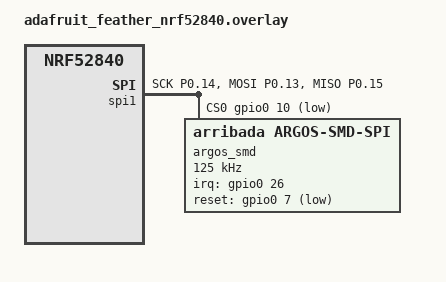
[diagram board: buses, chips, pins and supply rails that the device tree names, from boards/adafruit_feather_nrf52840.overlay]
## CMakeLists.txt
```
# Copyright (c) 2025 Arribada Initiative
# SPDX-License-Identifier: Apache-2.0

cmake_minimum_required(VERSION 3.20.0)

find_package(Zephyr REQUIRED HINTS $ENV{ZEPHYR_BASE})
project(argos_smd_spi_dfu_test)

# Add external firmware file if provided
if(DEFINED FIRMWARE_FILE)
    if(EXISTS ${FIRMWARE_FILE})
        message(STATUS "Using external firmware: ${FIRMWARE_FILE}")

        # Read the binary file and generate a C array
        file(READ ${FIRMWARE_FILE} FIRMWARE_HEX HEX)
        string(LENGTH ${FIRMWARE_HEX} FIRMWARE_HEX_LEN)
        math(EXPR FIRMWARE_SIZE "${FIRMWARE_HEX_LEN} / 2")

        # Generate header file with firmware data
        set(FIRMWARE_HEADER "${CMAKE_BINARY_DIR}/generated/firmware_image.h")
        file(WRITE ${FIRMWARE_HEADER} "/* Auto-generated firmware image */\n")
        file(APPEND ${FIRMWARE_HEADER} "#ifndef FIRMWARE_IMAGE_H\n#define FIRMWARE_IMAGE_H\n\n")
        file(APPEND ${FIRMWARE_HEADER} "#include <stdint.h>\n\n")
        file(APPEND ${FIRMWARE_HEADER} "#define FIRMWARE_IMAGE_SIZE ${FIRMWARE_SIZE}\n\n")
        file(APPEND ${FIRMWARE_HEADER} "static const uint8_t firmware_image[${FIRMWARE_SIZE}] = {\n    ")

        string(REGEX REPLACE "([0-9a-fA-F][0-9a-fA-F])" "0x\\1, " FIRMWARE_C_ARRAY ${FIRMWARE_HEX})
        string(REGEX REPLACE ", $" "" FIRMWARE_C_ARRAY ${FIRMWARE_C_ARRAY})

        # Add line breaks every 16 bytes
        string(REGEX REPLACE "((0x[0-9a-fA-F][0-9a-fA-F], ){16})" "\\1\n    " FIRMWARE_C_ARRAY ${FIRMWARE_C_ARRAY})

        file(APPEND ${FIRMWARE_HEADER} "${FIRMWARE_C_ARRAY}\n};\n\n")
        file(APPEND ${FIRMWARE_HEADER} "#endif /* FIRMWARE_IMAGE_H */\n")

        target_include_directories(app PRIVATE ${CMAKE_BINARY_DIR}/generated)
        target_compile_definitions(app PRIVATE USE_EXTERNAL_FIRMWARE=1)
    else()
        message(FATAL_ERROR "Firmware file not found: ${FIRMWARE_FILE}")
    endif()
endif()

target_sources(app PRIVATE src/main.c)
```

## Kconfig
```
# Copyright (c) 2025 Arribada Initiative
# SPDX-License-Identifier: Apache-2.0

mainmenu "Argos SMD SPI DFU Test Configuration"

source "Kconfig.zephyr"

config ARGOS_SMD_DFU_TEST_FULL_UPDATE
    bool "Enable full DFU update test"
    default n
    help
      When enabled, the test will perform a complete firmware update
      using the provided firmware image. This is a destructive operation
      that will erase and reprogram the Argos SMD module's flash.

      WARNING: Only enable this if you have a valid firmware image
      and want to actually update the module.
```

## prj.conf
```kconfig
# Copyright (c) 2025 Arribada Initiative
# SPDX-License-Identifier: Apache-2.0

# Logging
CONFIG_LOG=y
CONFIG_LOG_DEFAULT_LEVEL=3
CONFIG_LOG_MODE_IMMEDIATE=y

# RTT buffer size (increase for more log buffering)
CONFIG_SEGGER_RTT_BUFFER_SIZE_UP=4096
CONFIG_SEGGER_RTT_BUFFER_SIZE_DOWN=16

# RTT Console for logs (via J-Link)
CONFIG_USE_SEGGER_RTT=y
CONFIG_RTT_CONSOLE=y
CONFIG_UART_CONSOLE=n
CONFIG_CONSOLE=y

# RTT log backend must DROP (not block) when full: with immediate logging and no
# RTT host draining yet, the blocking mode busy-waits and a context switch during
# that wait can fault. Drop instead.
CONFIG_LOG_BACKEND_RTT_MODE_DROP=y

# SPI support
CONFIG_SPI=y

# Argos SMD SPI driver
CONFIG_ARGOS_SMD=y
CONFIG_ARGOS_SMD_SPI=y
# INF (not DBG): DBG logs every TX/RX of every 64-byte transaction, which floods
# RTT during the ~300-chunk firmware write and can stall the OTA. Bump to DBG only
# when debugging a single command.
CONFIG_ARGOS_SMD_LOG_LEVEL_INF=y

# Argos SMD DFU via SPI
CONFIG_ARGOS_SMD_DFU=y
CONFIG_ARGOS_SMD_DFU_LOG_LEVEL_INF=y

# Main stack size (increase for large firmware images)
CONFIG_MAIN_STACK_SIZE=8192

# System workqueue stack size
CONFIG_SYSTEM_WORKQUEUE_STACK_SIZE=2048

# GPIO for CS/IRQ/Reset pins
CONFIG_GPIO=y

# Optional: Enable full DFU test (WARNING: performs real firmware update)
CONFIG_ARGOS_SMD_DFU_TEST_FULL_UPDATE=y
```

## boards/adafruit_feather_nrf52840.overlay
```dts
/*
 * Copyright (c) 2025 Arribada Initiative
 * SPDX-License-Identifier: Apache-2.0
 *
 * Devicetree overlay for Argos SMD SPI DFU test on Adafruit Feather nRF52840
 *
 * SPI Wiring (Feather -> Argos SMD module):
 * - SCK  (P0.14) -> SPI_CLK  (STM32 PA1)
 * - MOSI (P0.13) -> SPI_MOSI (STM32 PB5)
 * - MISO (P0.15) -> SPI_MISO (STM32 PB4)
 * - CS   (P0.10) -> SPI_NSS  (STM32 PA15)
 * - IRQ  (P0.26) -> IRQ/READY (optional)
 * - RST  (P0.07) -> RESET (optional)
 *
 * NOTE: P0.10 is NFC2 by default, must disable NFC to use as GPIO
 */

/* Disable NFC to use P0.09/P0.10 as GPIO */
&uicr {
	nfct-pins-as-gpios;
};

&pinctrl {
	spi1_default: spi1_default {
		group1 {
			psels = <NRF_PSEL(SPIM_SCK, 0, 14)>,
				<NRF_PSEL(SPIM_MOSI, 0, 13)>,
				<NRF_PSEL(SPIM_MISO, 0, 15)>;
		};
	};

	spi1_sleep: spi1_sleep {
		group1 {
			psels = <NRF_PSEL(SPIM_SCK, 0, 14)>,
				<NRF_PSEL(SPIM_MOSI, 0, 13)>,
				<NRF_PSEL(SPIM_MISO, 0, 15)>;
			low-power-enable;
		};
	};
};

&spi1 {
	compatible = "nordic,nrf-spim";
	status = "okay";
	pinctrl-0 = <&spi1_default>;
	pinctrl-1 = <&spi1_sleep>;
	pinctrl-names = "default", "sleep";
	cs-gpios = <&gpio0 10 GPIO_ACTIVE_LOW>;

	argos_smd: argos-smd@0 {
		compatible = "arribada,argos-smd-spi";
		reg = <0>;
		spi-max-frequency = <125000>;  /* 125 kHz - minimum supported by the nRF52840 SPIM (100 kHz => -EINVAL) */
		irq-gpios = <&gpio0 26 GPIO_ACTIVE_HIGH>;
		reset-gpios = <&gpio0 7 GPIO_ACTIVE_LOW>;
	};
};

/* Alternative pin mapping for Feather headers:
 *
 * Feather Pin | nRF Pin | Function
 * ------------|---------|----------
 * SCK         | P0.13   | SPI Clock
 * MOSI        | P0.14   | SPI Master Out
 * MISO        | P0.15   | SPI Master In
 * D10         | P0.27   | Chip Select
 * D9          | P0.26   | IRQ/Ready
 * D6          | P0.07   | Reset
 *
 * Analog pins (if needed for other purposes):
 * - A0: P0.04
 * - A1: P0.05
 * - A2: P0.30
 * - A3: P0.28
 * - A4: P0.02
 * - A5: P0.03
 */
```

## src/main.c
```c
/*
 * Copyright (c) 2025 Arribada Initiative
 * SPDX-License-Identifier: Apache-2.0
 *
 * Argos SMD SPI DFU Test - Full DFU functionality test
 */

#include <zephyr/kernel.h>
#include <zephyr/device.h>
#include <zephyr/logging/log.h>
#include <errno.h>

#include <argos-smd/argos_smd_spi.h>
#include <argos-smd/argos_smd_dfu_spi.h>

LOG_MODULE_REGISTER(spi_dfu_test, LOG_LEVEL_DBG);

#define ARGOS_SMD_SPI_NODE DT_NODELABEL(argos_smd)
#if !DT_NODE_EXISTS(ARGOS_SMD_SPI_NODE)
#error "Argos SMD SPI device not found in devicetree"
#endif

static const struct device *dev = DEVICE_DT_GET(ARGOS_SMD_SPI_NODE);

/* External firmware image (if provided via CMake) */
#ifdef USE_EXTERNAL_FIRMWARE
#include "firmware_image.h"
#define TEST_FW_IMAGE    firmware_image
#define TEST_FW_SIZE     FIRMWARE_IMAGE_SIZE
#else
/* Minimal test firmware - valid STM32 vector table stub */
static const uint8_t test_firmware[] = {
	0x00, 0x20, 0x00, 0x08,  /* Initial SP */
	0x41, 0x81, 0x00, 0x08,  /* Reset vector */
};
#define TEST_FW_IMAGE    test_firmware
#define TEST_FW_SIZE     sizeof(test_firmware)
#endif

static void dfu_progress_callback(uint32_t current, uint32_t total, void *user_data)
{
	uint32_t percent = (current * 100) / total;
	if (percent % 10 == 0) {
		LOG_INF("Progress: %u%%", percent);
	}
}

static int test_dfu_erase(void)
{
	LOG_INF("--- DFU ERASE ---");
	int ret = argos_dfu_erase(dev);
	LOG_INF("Erase result: %d", ret);
	return ret;
}

static int test_dfu_write_chunk(void)
{
	uint8_t test_data[64];
	for (int i = 0; i < sizeof(test_data); i++) {
		test_data[i] = (uint8_t)i;
	}
	int ret = argos_dfu_write_chunk(dev, ARGOS_FLASH_APPLICATION, test_data, sizeof(test_data));
	LOG_INF("Write chunk result: %d", ret);
	return ret;
}

static int test_full_firmware_update(void)
{
	int ret = argos_spi_firmware_update(dev, TEST_FW_IMAGE, TEST_FW_SIZE,
					    dfu_progress_callback, NULL);
	LOG_INF("Firmware update result: %d", ret);
	return ret;
}

int main(void)
{
	int ret;

	LOG_INF("========================================");
	LOG_INF("  SPI DFU Full Test");
	LOG_INF("========================================");
	LOG_INF("");

	if (!device_is_ready(dev)) {
		LOG_ERR("Device not ready!");
		return -1;
	}
	LOG_INF("Device ready");

	/* ===== STEP 1: SYNC ===== */
	LOG_INF("");
	LOG_INF("=== STEP 1: SYNC ===");
	ret = argos_spi_sync(dev);
	LOG_INF("Sync returned: %d", ret);
	k_msleep(100);

	/* ===== STEP 2: PING APP ===== */
	LOG_INF("");
	LOG_INF("=== STEP 2: PING APP (cmd 0x02) ===");
	ret = argos_spi_ping(dev);
	if (ret == 0) {
		LOG_INF(">> APP PING OK!");
	} else {
		LOG_ERR(">> APP PING FAILED: %d", ret);
		/* Check if already in bootloader */
		LOG_INF("Checking if in bootloader...");
		ret = argos_dfu_ping(dev);
		if (ret == 0) {
			LOG_INF(">> Already in BOOTLOADER mode!");
			goto bootloader_ready;
		}
		LOG_ERR("No response from app or bootloader");
		return -1;
	}
	k_msleep(200);

	/* ===== STEP 3: DFU_ENTER (0x3F) ===== */
	LOG_INF("");
	LOG_INF("=== STEP 3: DFU_ENTER (cmd 0x3F) ===");
	LOG_INF("Calling argos_dfu_enter()...");
	ret = argos_dfu_enter(dev);
	LOG_INF("argos_dfu_enter() returned: %d", ret);

	/* ===== STEP 4: WAIT FOR RESET ===== */
	LOG_INF("");
	LOG_INF("=== STEP 4: WAIT 2s FOR STM32 RESET ===");
	k_msleep(2000);

	/* ===== STEP 5: SYNC WITH BOOTLOADER ===== */
	LOG_INF("");
	LOG_INF("=== STEP 5: SYNC WITH BOOTLOADER ===");
	ret = argos_spi_sync(dev);
	LOG_INF("Sync returned: %d", ret);
	k_msleep(200);

	/* ===== STEP 6: PING BOOTLOADER ===== */
	LOG_INF("");
	LOG_INF("=== STEP 6: PING BOOTLOADER (DFU cmd 0x30) ===");
	ret = argos_dfu_ping(dev);
	if (ret == 0) {
		LOG_INF(">> BOOTLOADER PING OK!");
	} else {
		LOG_ERR(">> BOOTLOADER PING FAILED: %d", ret);
		goto done;
	}

bootloader_ready:
	/* ===== STEP 7: GET BOOTLOADER INFO ===== */
	{
		struct argos_bl_info info;
		LOG_INF("");
		LOG_INF("=== STEP 7: GET BOOTLOADER INFO ===");
		ret = argos_dfu_get_info(dev, &info);
		if (ret == 0) {
			LOG_INF("Bootloader v%u.%u.%u",
				info.version_major, info.version_minor, info.version_patch);
			LOG_INF("App start: 0x%08X, max size: %u, page size: %u",
				info.app_start_addr, info.app_max_size, info.page_size);
		} else {
			LOG_ERR("Get info failed: %d", ret);
		}
	}

	/* ===== STEP 8: ERASE FLASH ===== */
	LOG_INF("");
	LOG_INF("=== STEP 8: ERASE FLASH ===");
	ret = test_dfu_erase();
	if (ret != 0) {
		LOG_ERR("Erase failed, aborting test");
		goto done;
	}

	/* ===== STEP 9: WRITE TEST CHUNK ===== */
	LOG_INF("");
	LOG_INF("=== STEP 9: WRITE TEST CHUNK ===");
	ret = test_dfu_write_chunk();
	if (ret != 0) {
		LOG_ERR("Write chunk failed: %d", ret);
	}

	/* ===== STEP 10: FULL FIRMWARE UPDATE ===== */
	LOG_INF("");
	LOG_INF("=== STEP 10: FULL FIRMWARE UPDATE ===");
	LOG_INF("Firmware size: %u bytes", TEST_FW_SIZE);
	ret = test_full_firmware_update();
	if (ret != 0) {
		LOG_ERR("Firmware update failed: %d", ret);
	} else {
		LOG_INF(">> FIRMWARE UPDATE SUCCESS!");
	}

done:
	LOG_INF("");
	LOG_INF("========================================");
	LOG_INF("  Test Complete");
	LOG_INF("========================================");

	return 0;
}
```
